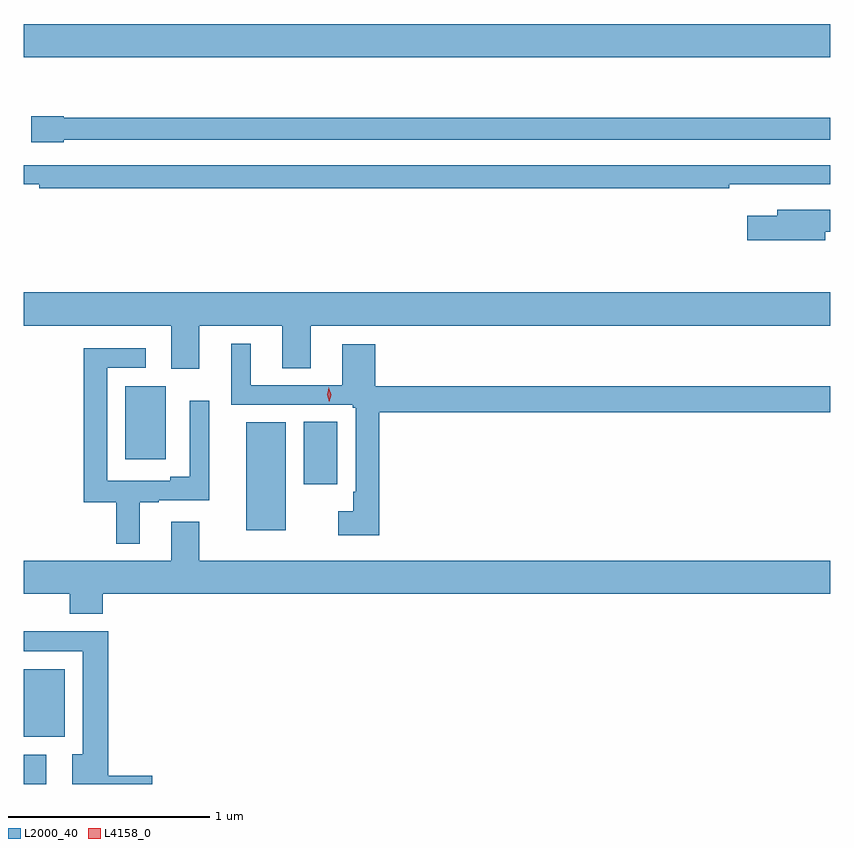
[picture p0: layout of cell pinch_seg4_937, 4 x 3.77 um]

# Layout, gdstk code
import gdstk
lib = gdstk.Library(unit=1e-6, precision=1e-09)
def R(c, l, rs):  # rectangles x0, y0, x1, y1
    for r in rs: c.add(gdstk.rectangle(r[:2], r[2:], *l))
def P(c, l, *ps):  # polygons
    for p in ps: c.add(gdstk.Polygon(p, *l))
L2000_40 = (2000, 40)
L4158_0 = (4158, 0)

pinch_seg4_937 = lib.new_cell('pinch_seg4_937')
R(pinch_seg4_937, L2000_40, [(683.004,763.909,683.116,764.055), (683.004,764.144,683.206,764.479), (684.107,765.167,684.304,765.703), (684.392,765.396,684.559,765.707), (683.507,765.521,683.707,765.883), (683.004,767.516,687.004,767.68)])
P(pinch_seg4_937, L2000_40, [(683.202,767.106),(687.004,767.106),(687.004,767.215),(683.202,767.215),(683.202,767.223),(683.04,767.223),(683.04,767.093),(683.202,767.093)],
  [(686.504,766.884),(687.004,766.884),(687.004,766.98),(683.004,766.98),(683.004,766.884),(683.08,766.884),(683.08,766.864),(686.504,766.864)],
  [(686.98,766.65),(687.004,766.65),(687.004,766.758),(686.741,766.758),(686.741,766.729),(686.592,766.729),(686.592,766.607),(686.98,766.607)],
  [(683.875,766.184),(684.287,766.184),(684.287,765.973),(684.427,765.973),(684.427,766.184),(687.004,766.184),(687.004,766.348),(683.004,766.348),(683.004,766.184),(683.735,766.184),(683.735,765.969),(683.875,765.969)],
  [(684.767,765.754),(687.004,765.754),(687.004,765.883),(684.748,765.883),(684.748,766.09),(684.584,766.09),(684.584,765.888),(684.13,765.888),(684.13,766.093),(684.032,766.093),(684.032,765.792),(684.636,765.792),(684.636,765.777),(684.651,765.777),(684.651,765.358),(684.639,765.358),(684.639,765.262),(684.564,765.262),(684.564,765.143),(684.767,765.143)],
  [(683.578,765.306),(683.674,765.306),(683.674,765.318),(683.924,765.318),(683.924,765.811),(683.826,765.811),(683.826,765.434),(683.729,765.434),(683.729,765.414),(683.418,765.414),(683.418,765.975),(683.608,765.975),(683.608,766.071),(683.302,766.071),(683.302,765.306),(683.461,765.306),(683.461,765.101),(683.578,765.101)],
  [(683.396,764.852),(687.004,764.852),(687.004,765.016),(683.875,765.016),(683.875,765.211),(683.735,765.211),(683.735,765.016),(683.004,765.016),(683.004,764.852),(683.231,764.852),(683.231,764.753),(683.396,764.753)],
  [(683.641,763.949),(683.423,763.949),(683.423,764.666),(683.004,764.666),(683.004,764.568),(683.297,764.568),(683.297,764.056),(683.243,764.056),(683.243,763.909),(683.641,763.909)])
P(pinch_seg4_937, L4158_0, [(684.519,765.805),(684.519,765.805),(684.508,765.84),(684.516,765.876),(684.516,765.877),(684.516,765.876),(684.528,765.841),(684.519,765.805)])

lib.write_gds('pinch_seg4_937.gds')
